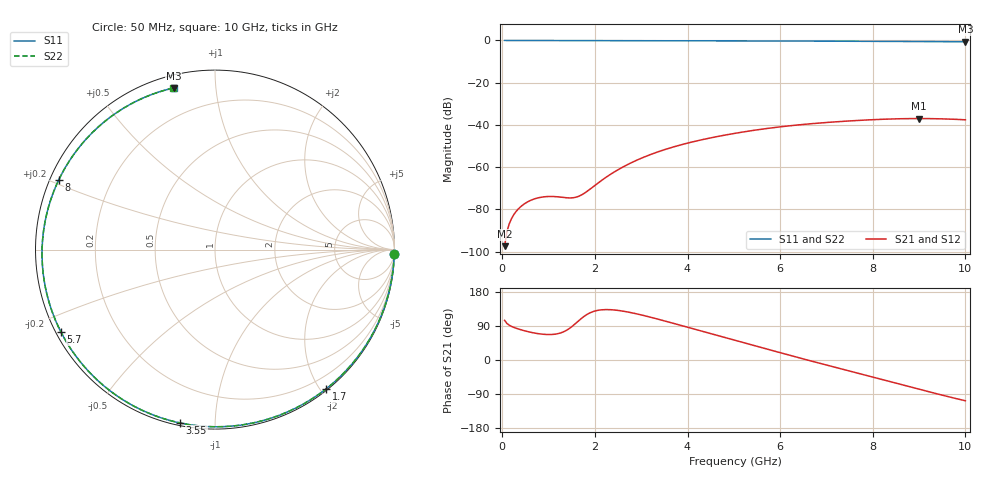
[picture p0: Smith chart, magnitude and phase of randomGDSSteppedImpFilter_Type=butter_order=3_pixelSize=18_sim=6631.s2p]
! freq	dB(S11)	phase(S11)	dB(S12)	phase(S12)
!  dB(S21)	phase(S21)	dB(S22)	phase(S22)
!S-par simulation data
#  GHz  S  DB  R 50
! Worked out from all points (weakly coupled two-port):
!   200 points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, 50 MHz to 10 GHz, reference 50 ohm
!   highest |S21| = -36.96 dB at 9 GHz (marker M1); lowest = -97.4 dB at 50 MHz (marker M2)
!   lowest |S11| = -0.6 dB at 10 GHz (marker M3), VSWR 27.48, Z = 2.91 + j38.8 ohm
!   |S11| at or under -10 dB: nowhere
!   |S22| runs from -0.6 to 0.0 dB; largest |S21 - S12| = 0
!   S11 on the Smith chart (normalised r, x): 50 MHz: 1, -76; 1.7 GHz: 0.02, -2.07; 3.55 GHz: 0.01, -0.82; 5.7 GHz: 0.01, -0.25; 8 GHz: 0.03, +0.21; 10 GHz: 0.06, +0.78
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0.05  -0.00 -1.5  -97.37 104.7  -97.37 104.7  -0.00 -1.5
0.35  -0.02 -10.8  -79.66 81.7  -79.66 81.7  -0.02 -10.8
0.55  -0.02 -17.0  -76.36 75.0  -76.36 75.0  -0.02 -17.0
0.8  -0.03 -24.7  -74.37 69.0  -74.37 69.0  -0.03 -24.7
1.05  -0.04 -32.3  -73.83 67.2  -73.83 67.2  -0.04 -32.3
1.5  -0.06 -45.7  -74.51 87.9  -74.51 87.9  -0.06 -45.7
1.7  -0.06 -51.5  -73.25 108.8  -73.25 108.8  -0.06 -51.5
1.75  -0.07 -52.9  -72.62 113.7  -72.62 113.7  -0.07 -52.9
2.25  -0.08 -67.1  -64.61 133.1  -64.61 133.1  -0.08 -67.1
2.55  -0.09 -75.3  -60.56 130.0  -60.56 130.0  -0.09 -75.3
2.95  -0.11 -86.0  -56.23 120.4  -56.23 120.4  -0.11 -86.0
3.4  -0.12 -97.6  -52.43 106.6  -52.43 106.6  -0.12 -97.5
3.55  -0.13 -101.3  -51.36 101.6  -51.36 101.6  -0.13 -101.3
4.25  -0.16 -118.4  -47.28 77.9  -47.28 77.9  -0.16 -118.4
5.05  -0.20 -137.1  -43.86 51.1  -43.86 51.1  -0.20 -137.0
5.7  -0.23 -151.8  -41.71 29.4  -41.71 29.4  -0.23 -151.7
6.7  -0.30 -174.2  -39.36 -3.7  -39.36 -3.7  -0.30 -174.1
7.35  -0.36 171.0  -38.29 -24.4  -38.29 -24.4  -0.36 171.2
8  -0.42 155.9  -37.50 -45.0  -37.50 -45.0  -0.42 156.0
8.35  -0.45 147.5  -37.20 -56.1  -37.20 -56.1  -0.45 147.6
9  -0.52 131.2  -36.96 -77.1  -36.96 -77.1  -0.52 131.4
10  -0.63 104.3  -37.55 -107.6  -37.55 -107.6  -0.63 104.6
